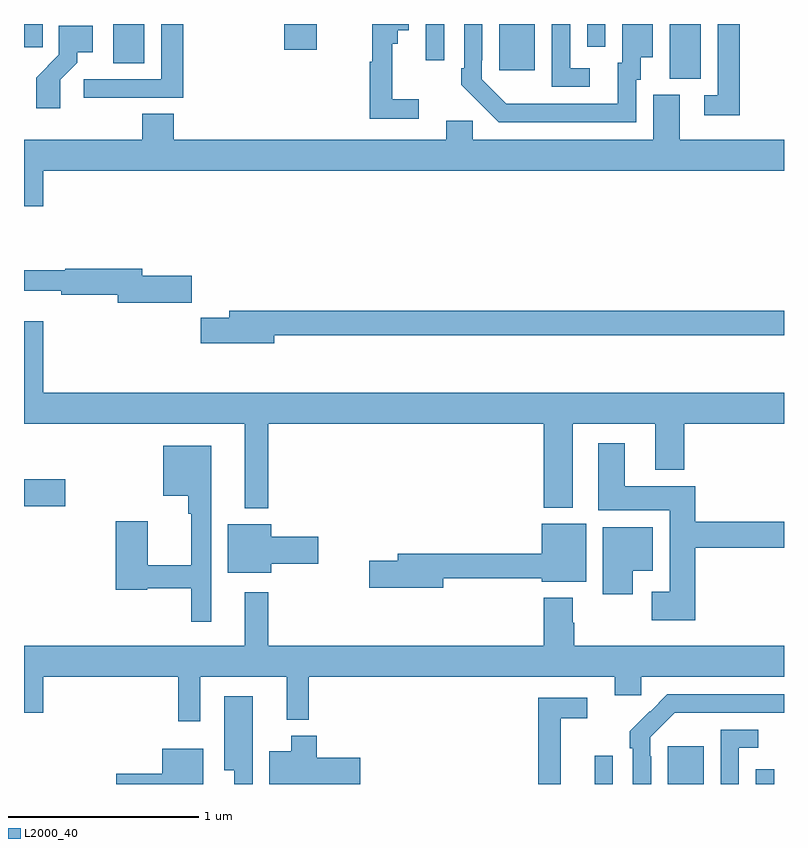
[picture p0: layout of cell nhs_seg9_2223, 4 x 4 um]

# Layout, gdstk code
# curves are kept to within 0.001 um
import gdstk
lib = gdstk.Library(unit=1e-6, precision=1e-09)
def R(c, l, rs):  # rectangles x0, y0, x1, y1
    for r in rs: c.add(gdstk.rectangle(r[:2], r[2:], *l))
def P(c, l, *ps):  # polygons
    for p in ps: c.add(gdstk.Polygon(p, *l))
L2000_40 = (2000, 40)

nhs_seg9_2223 = lib.new_cell('nhs_seg9_2223')
R(nhs_seg9_2223, L2000_40, [(240.003,1218.5,240.099,1218.649), (240.389,1218.5,240.577,1218.7), (240.852,1218.5,240.948,1218.577), (237,1219.961,237.217,1220.103), (240.398,1222.213,240.562,1222.5), (239.501,1222.257,239.689,1222.5), (237.47,1222.294,237.634,1222.5), (239.115,1222.308,239.211,1222.5), (238.37,1222.365,238.54,1222.5), (237,1222.378,237.098,1222.5), (239.964,1222.38,240.06,1222.5)])
P(nhs_seg9_2223, L2000_40, [(237.539,1222.113),(237.839,1222.113),(237.839,1222.5),(237.723,1222.5),(237.723,1222.209),(237.315,1222.209),(237.315,1222.111),(237.539,1222.111)],
  [(239.077,1222.103),(238.937,1222.103),(238.937,1222.397),(238.966,1222.397),(238.966,1222.466),(239.026,1222.466),(239.026,1222.5),(238.834,1222.5),(238.834,1222.301),(238.819,1222.301),(238.819,1222.002),(239.077,1222.002)],
  [(240.222,1222.206),(240.247,1222.206),(240.247,1222.325),(240.31,1222.325),(240.31,1222.5),(240.149,1222.5),(240.149,1222.296),(240.125,1222.296),(240.125,1222.08),(239.538,1222.081),(239.409,1222.209),(239.409,1222.309),(239.412,1222.309),(239.412,1222.5),(239.316,1222.5),(239.316,1222.267),(239.301,1222.267),(239.301,1222.179),(239.498,1221.984),(240.222,1221.984)],
  [(240.767,1222.5),(240.651,1222.5),(240.651,1222.125),(240.579,1222.125),(240.579,1222.02),(240.767,1222.02)],
  [(239.977,1222.266),(239.874,1222.266),(239.874,1222.5),(239.778,1222.5),(239.778,1222.17),(239.977,1222.17)],
  [(237.19,1222.207),(237.28,1222.297),(237.28,1222.352),(237.361,1222.352),(237.361,1222.492),(237.183,1222.492),(237.183,1222.337),(237.064,1222.218),(237.064,1222.056),(237.19,1222.056)],
  [(237.1,1221.728),(241,1221.728),(241,1221.892),(240.451,1221.892),(240.451,1222.128),(240.311,1222.128),(240.311,1221.892),(239.361,1221.892),(239.361,1221.99),(239.222,1221.99),(239.222,1221.892),(237.788,1221.892),(237.788,1222.028),(237.623,1222.028),(237.623,1221.892),(237,1221.892),(237,1221.54),(237.1,1221.54)],
  [(237.883,1221.176),(237.622,1221.176),(237.622,1221.212),(237.218,1221.212),(237.218,1221.205),(237,1221.205),(237,1221.095),(237.196,1221.095),(237.196,1221.076),(237.494,1221.076),(237.494,1221.034),(237.883,1221.034)],
  [(238.318,1220.862),(241,1220.862),(241,1220.99),(238.079,1220.99),(238.079,1220.954),(237.93,1220.954),(237.93,1220.819),(238.318,1220.819)],
  [(237.1,1220.935),(237,1220.935),(237,1220.396),(238.163,1220.396),(238.163,1219.952),(238.285,1219.952),(238.285,1220.396),(239.735,1220.396),(239.735,1219.955),(239.887,1219.955),(239.887,1220.396),(240.323,1220.396),(240.323,1220.153),(240.476,1220.153),(240.476,1220.396),(241,1220.396),(241,1220.56),(237.1,1220.56)],
  [(240.533,1219.744),(241,1219.744),(241,1219.88),(240.533,1219.88),(240.533,1220.068),(240.163,1220.068),(240.163,1220.293),(240.023,1220.293),(240.023,1219.94),(240.398,1219.94),(240.398,1219.513),(240.303,1219.513),(240.303,1219.361),(240.533,1219.361)],
  [(237.985,1220.281),(237.734,1220.281),(237.734,1220.018),(237.864,1220.018),(237.864,1219.922),(237.881,1219.922),(237.881,1219.651),(237.652,1219.651),(237.652,1219.882),(237.482,1219.882),(237.482,1219.522),(237.648,1219.522),(237.648,1219.53),(237.881,1219.53),(237.881,1219.353),(237.985,1219.353)],
  [(239.206,1219.584),(239.726,1219.584),(239.726,1219.565),(239.959,1219.565),(239.959,1219.87),(239.726,1219.87),(239.726,1219.712),(238.967,1219.712),(238.967,1219.676),(238.818,1219.676),(238.818,1219.534),(239.206,1219.534)],
  [(238.3,1219.66),(238.549,1219.66),(238.549,1219.802),(238.3,1219.802),(238.3,1219.867),(238.073,1219.867),(238.073,1219.613),(238.3,1219.613)],
  [(240.205,1219.622),(240.31,1219.622),(240.31,1219.852),(240.047,1219.852),(240.047,1219.5),(240.205,1219.5)],
  [(238.285,1219.51),(238.163,1219.51),(238.163,1219.228),(237,1219.228),(237,1218.876),(237.1,1218.876),(237.1,1219.064),(237.811,1219.064),(237.811,1218.831),(237.927,1218.831),(237.927,1219.064),(238.382,1219.064),(238.382,1218.839),(238.499,1218.839),(238.499,1219.064),(240.11,1219.064),(240.11,1218.966),(240.249,1218.966),(240.249,1219.064),(241,1219.064),(241,1219.228),(239.895,1219.228),(239.895,1219.349),(239.887,1219.349),(239.887,1219.48),(239.735,1219.48),(239.735,1219.228),(238.285,1219.228)],
  [(240.3,1218.647),(240.297,1218.647),(240.297,1218.747),(240.426,1218.876),(241,1218.876),(241,1218.972),(240.386,1218.972),(240.189,1218.777),(240.189,1218.689),(240.204,1218.689),(240.204,1218.5),(240.3,1218.5)],
  [(238.204,1218.961),(238.055,1218.961),(238.055,1218.572),(238.106,1218.572),(238.106,1218.5),(238.204,1218.5)],
  [(239.825,1218.846),(239.965,1218.846),(239.965,1218.954),(239.707,1218.954),(239.707,1218.5),(239.825,1218.5)],
  [(240.762,1218.69),(240.865,1218.69),(240.865,1218.786),(240.666,1218.786),(240.666,1218.5),(240.762,1218.5)],
  [(238.771,1218.639),(238.541,1218.639),(238.541,1218.754),(238.406,1218.754),(238.406,1218.673),(238.292,1218.673),(238.292,1218.5),(238.771,1218.5)],
  [(237.943,1218.685),(237.728,1218.685),(237.728,1218.554),(237.486,1218.554),(237.486,1218.5),(237.943,1218.5)])

lib.write_gds('nhs_seg9_2223.gds')
